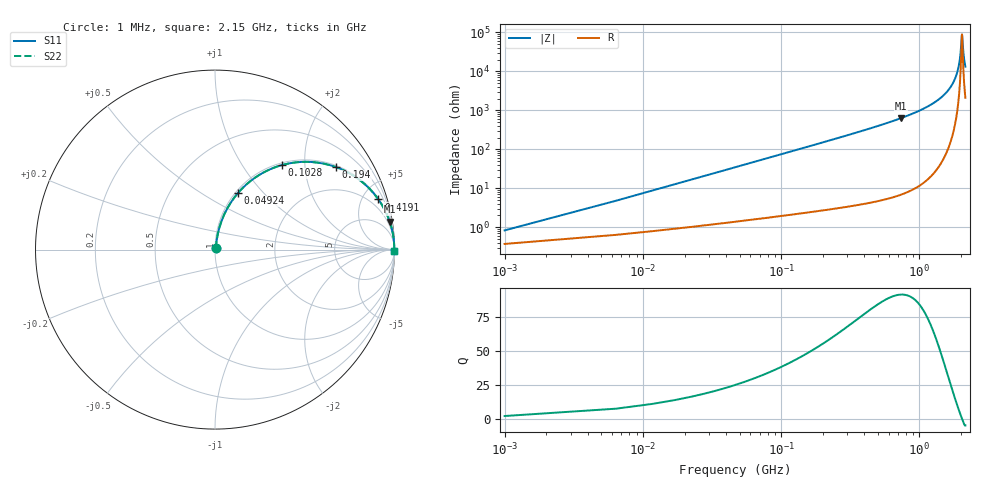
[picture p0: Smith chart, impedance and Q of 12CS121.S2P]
! Coilcraft 1206CS-121 Chip Inductor
! 29 July 2002
# MHZ S MA R 50
!Freq  MagS11  AngS11  MagS21  AngS21  MagS12  AngS12  MagS22  AngS22
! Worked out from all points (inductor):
!   402 points, 1 MHz to 2.15 GHz, reference 50 ohm
!   read as one part in series: L = 118 nH near 11.72 MHz
!   highest Q = 92 at 735.3 MHz (marker M1), where L = 136 nH
!   self-resonance near 2.027 GHz
!   S11 on the Smith chart (normalised r, x): 1 MHz: 1.01, +0.01; 49.24 MHz: 1.03, +0.73; 102.8 MHz: 1.04, +1.53; 194 MHz: 1.05, +2.90; 419.1 MHz: 1.08, +6.49; 2.15 GHz: open
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1  0.008268 62.9  0.9963 -0.4  0.9963 -0.4  0.008268 62.9
17.08  0.1248 78.7  0.9832 -7.2  0.9832 -7.2  0.1248 78.7
22.44  0.1628 77.1  0.9767 -9.4  0.9767 -9.4  0.1628 77.1
33.16  0.2364 73.6  0.9602 -13.7  0.9602 -13.7  0.2364 73.6
49.24  0.3391 68.0  0.9277 -19.8  0.9277 -19.8  0.3391 68.0
102.84  0.6 51.7  0.7847 -36.9  0.7847 -36.9  0.6 51.7
193.96  0.8165 34.2  0.5625 -54.7  0.5625 -54.7  0.8165 34.2
360.12  0.936 19.8  0.3395 -69.4  0.3395 -69.4  0.936 19.8
419.08  0.9523 17.1  0.2934 -72.2  0.2934 -72.2  0.9523 17.1
719.24  0.9851 9.3  0.1616 -80.1  0.1616 -80.1  0.9851 9.3
735.32  0.9859 9.0  0.1571 -80.3  0.1571 -80.3  0.9859 9.0
1078.36  0.9949 5.1  0.08938 -84.2  0.08938 -84.2  0.9949 5.1
1437.48  0.9979 2.7  0.04678 -86.1  0.04678 -86.1  0.9979 2.7
1646.52  0.9986 1.6  0.0281 -86.4  0.0281 -86.4  0.9986 1.6
1796.6  0.9988 0.9  0.01639 -85.5  0.01639 -85.5  0.9988 0.9
1882.36  0.9989 0.6  0.0102 -83.4  0.0102 -83.4  0.9989 0.6
1941.32  0.9989 0.3  0.006146 -79.4  0.006146 -79.4  0.9989 0.3
1978.84  0.9989 0.2  0.00368 -72.3  0.00368 -72.3  0.9989 0.2
2021.72  0.9989 0.0  0.001312 -30.5  0.001312 -30.5  0.9989 0.0
2032.44  0.9989 -0.0  0.001136 1.8  0.001136 1.8  0.9989 -0.0
2091.4  0.9988 -0.2  0.004001 72.8  0.004001 72.8  0.9988 -0.2
2150  0.9988 -0.4  0.007589 80.5  0.007589 80.5  0.9988 -0.4
